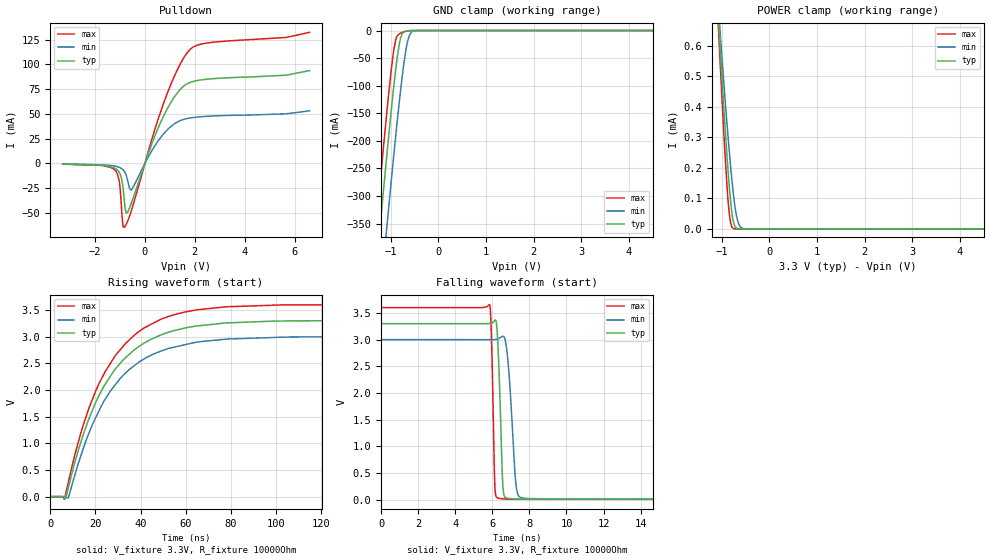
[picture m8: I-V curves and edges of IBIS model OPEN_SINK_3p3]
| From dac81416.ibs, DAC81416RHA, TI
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|   OPEN_SINK_3p3 Model
[Model]   OPEN_SINK_3p3
Model_type   Open_sink
Polarity   Non-Inverting
Vmeas = 1.65
Vref = 3.3
Cref = 2pF
Rref = 10000
|   typ   min   max
C_comp   4.262E-13  4.089E-13  4.382E-13
|  Where Nom  PVT is Nominal Process, 3.3V,   25C
|   Fast PVT is Strong Process,  3.6V,  -40C
|   Slow PVT is Weak Process,   3.0V,  125C
[Voltage Range]   3.3   3   3.6
|Junction Temperature
[Temperature Range]   25   125   -40
[Pullup Reference]   3.3   3   3.6
[Pulldown Reference]   0   0   0
[Power Clamp Reference]   3.3   3   3.6
[GND Clamp Reference]   0   0   0
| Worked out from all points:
|   slope of the pulldown table from 0 to 0.495 V, typ, clamps not added: 14.7 ohm
|   GND clamp passes 1 mA (typ) near -0.68 V on its own axis
|   POWER clamp passes 1 mA (typ) near -1.18 V on its own axis
|   falling waveform, V_fixture 3.3V, R_fixture 10000Ohm: 20-80 % time 184ps typ, 311ps min, 134ps max; typ from 3.3 V to 0.004 V
|   rising waveform, V_fixture 3.3V, R_fixture 10000Ohm: 20-80 % time 23.3ns typ, 23.3ns min, 23ns max; typ from 0.004 V to 3.3 V
[Pulldown]
|   Voltage   I(typ)   I(min)   I(max)
-3.3V     -703.1uA   -556.4uA   -690.9uA
-1.201V   -4.893mA   -2.727mA   -6.672mA
-1.033V   -8.896mA   -3.932mA   -17.7mA
-983.4mV  -11.49mA   -4.505mA   -28.81mA
-894.3mV  -21.47mA   -6.054mA   -60.19mA
-815.1mV  -40.59mA   -8.509mA   -64.39mA
-735.9mV  -50.35mA   -13.22mA   -60.81mA
-547.8mV  -40.14mA   -26.79mA   -47.93mA
719.4mV   46.4mA     29mA       58.76mA
1.264V    70.07mA    41.26mA    92.67mA
1.818V    81.81mA    45.89mA    115.3mA
6.6V      93.7mA     53.08mA    132.4mA
[GND Clamp]
|   Voltage   I(typ)   I(min)   I(max)
-3.3V     -2.383A    -2.508A    -2.31A
-1.35V    -474.7mA   -606mA     -395.6mA
-1.211V   -344.4mA   -475.8mA   -265.2mA
-1.082V   -226.6mA   -356.9mA   -148.8mA
-933.9mV  -99.68mA   -224.4mA   -34.31mA
-884.4mV  -62.57mA   -182.1mA   -13.71mA
-785.4mV  -11.37mA   -102.8mA   -4.315mA
-706.2mV  -1.591mA   -49.05mA   -1.943mA
-646.8mV  -461.4uA   -20.23mA   -809.5uA
-587.4mV  -133.7uA   -5.564mA   -244.5uA
-498.3mV  -16.23uA   -505.4uA   -26.04uA
6.6V      0A         0A         0A
[POWER Clamp]
|   Voltage   I(typ)   I(min)   I(max)
-3.3V     7.216mA    6.034mA    8.311mA
-1.063V   679.5uA    712.3uA    642.7uA
-1.053V   653uA      690.7uA    611.6uA
-1.013V   548.1uA    604.9uA    489uA
-924mV    323uA      418.2uA    231.5uA
-874.5mV  209.4uA    320.1uA    111.9uA
-844.8mV  148.3uA    264.2uA    57.65uA
-815.1mV  95.38uA    211.2uA    23.01uA
-745.8mV  19.4uA     104.4uA    1.162uA
-656.7mV  894.2nA    23.45uA    10.56nA
-528mV    1.037nA    870.9nA    0A
6.6V      0A         0A         0A
[Ramp]
R_load = 10000
|   typ   min   max
dV/dt_r   1.97739/2.31594e-08   1.79642/2.32372e-08   2.15766/2.30331e-08
dV/dt_f   1.97739/1.83511e-10   1.79642/3.10801e-10   2.15766/1.33729e-10
[Falling Waveform]
V_fixture = 3.3V
V_fixture_min = 3V
V_fixture_max = 3.6V
R_fixture = 10000Ohm
C_fixture = 0F
|   Time   V(typ)   V(min)   V(max)
0s        3.3V       3V         3.6V
5.85ns    3.301V     2.999V     3.659V
5.957ns   3.309V     2.999V     2.964V
6.136ns   3.362V     3.002V     251.3mV
6.363ns   2.378V     3.026V     21.58mV
6.621ns   95.6mV     3.053V     12.42mV
6.883ns   19.89mV    2.429V     6.79mV
7.267ns   9.98mV     308.2mV    5.2mV
7.524ns   7.271mV    36.88mV    4.23mV
50ns      4.344mV    5.955mV    3.908mV
[Rising Waveform]
V_fixture = 3.3V
V_fixture_min = 3V
V_fixture_max = 3.6V
R_fixture = 10000Ohm
C_fixture = 0F
|   Time   V(typ)   V(min)   V(max)
0s        4.344mV    5.955mV    3.908mV
6.257ns   -12.4mV    859uV      -46.4mV
7.95ns    165.8mV    -16.42mV   265.7mV
13.72ns   1.051V     792mV      1.223V
20.17ns   1.774V     1.488V     1.99V
28.24ns   2.361V     2.07V      2.608V
37.67ns   2.766V     2.471V     3.043V
60.11ns   3.164V     2.852V     3.464V
103.1ns   3.291V     2.989V     3.593V
5us       3.3V       3V         3.6V
